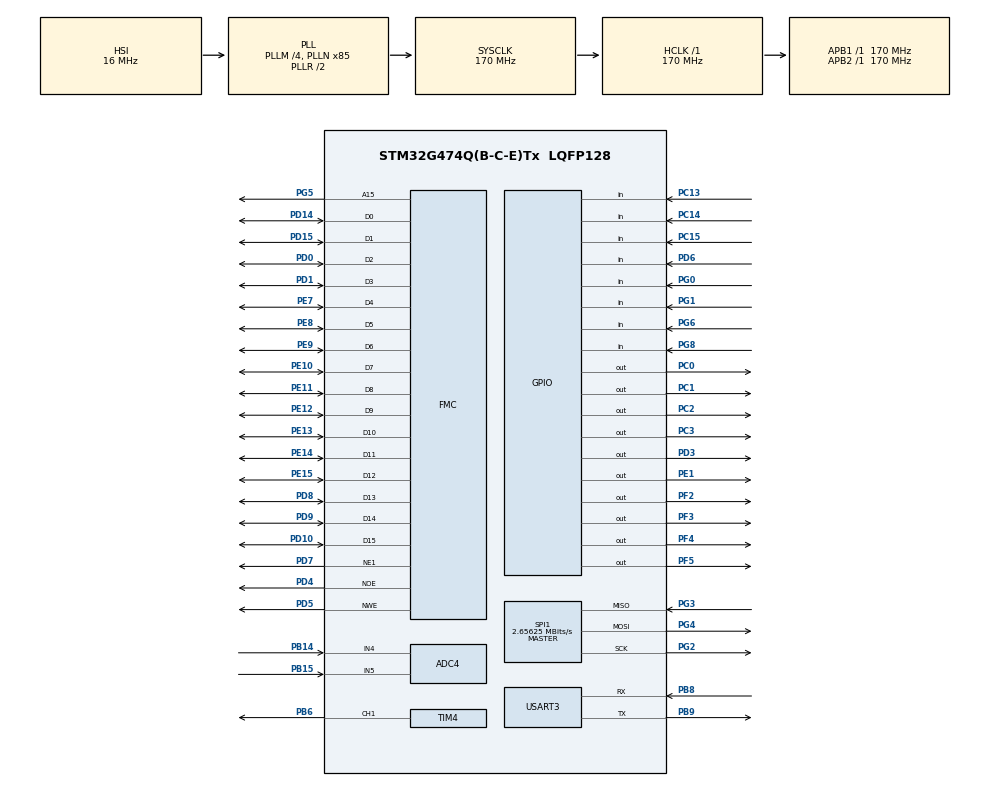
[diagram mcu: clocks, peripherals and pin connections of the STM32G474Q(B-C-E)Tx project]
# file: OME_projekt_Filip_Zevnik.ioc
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ADC4.Channel-0\#ChannelRegularConversion=ADC_CHANNEL_4
ADC4.Channel-1\#ChannelRegularConversion=ADC_CHANNEL_5
ADC4.DMAContinuousRequests=ENABLE
ADC4.ExternalTrigConv=ADC_EXTERNALTRIG_T1_TRGO
ADC4.NbrOfConversion=2
ADC4.NbrOfConversionFlag=1
ADC4.OffsetNumber-0\#ChannelRegularConversion=ADC_OFFSET_NONE
ADC4.OffsetNumber-1\#ChannelRegularConversion=ADC_OFFSET_NONE
ADC4.Rank-0\#ChannelRegularConversion=1
ADC4.Rank-1\#ChannelRegularConversion=2
ADC4.SamplingTime-0\#ChannelRegularConversion=ADC_SAMPLETIME_640CYCLES_5
ADC4.SamplingTime-1\#ChannelRegularConversion=ADC_SAMPLETIME_640CYCLES_5
Dma.ADC4.1.Direction=DMA_PERIPH_TO_MEMORY
Dma.ADC4.1.EventEnable=DISABLE
Dma.ADC4.1.Instance=DMA1_Channel1
Dma.ADC4.1.MemDataAlignment=DMA_MDATAALIGN_HALFWORD
Dma.ADC4.1.MemInc=DMA_MINC_ENABLE
Dma.ADC4.1.Mode=DMA_CIRCULAR
Dma.ADC4.1.PeriphDataAlignment=DMA_PDATAALIGN_HALFWORD
Dma.ADC4.1.PeriphInc=DMA_PINC_DISABLE
Dma.ADC4.1.Polarity=HAL_DMAMUX_REQ_GEN_RISING
Dma.ADC4.1.Priority=DMA_PRIORITY_LOW
Dma.ADC4.1.RequestNumber=1
Dma.ADC4.1.SignalID=NONE
Dma.ADC4.1.SyncEnable=DISABLE
Dma.ADC4.1.SyncPolarity=HAL_DMAMUX_SYNC_NO_EVENT
Dma.ADC4.1.SyncRequestNumber=1
Dma.ADC4.1.SyncSignalID=NONE
Dma.MEMTOMEM.0.Direction=DMA_MEMORY_TO_MEMORY
Dma.MEMTOMEM.0.EventEnable=DISABLE
Dma.MEMTOMEM.0.Instance=DMA1_Channel2
Dma.MEMTOMEM.0.MemDataAlignment=DMA_MDATAALIGN_HALFWORD
Dma.MEMTOMEM.0.MemInc=DMA_MINC_DISABLE
Dma.MEMTOMEM.0.Mode=DMA_NORMAL
Dma.MEMTOMEM.0.PeriphDataAlignment=DMA_PDATAALIGN_HALFWORD
Dma.MEMTOMEM.0.PeriphInc=DMA_PINC_ENABLE
Dma.MEMTOMEM.0.Polarity=HAL_DMAMUX_REQ_GEN_RISING
Dma.MEMTOMEM.0.Priority=DMA_PRIORITY_LOW
Dma.MEMTOMEM.0.RequestNumber=1
Dma.MEMTOMEM.0.SignalID=NONE
Dma.MEMTOMEM.0.SyncEnable=DISABLE
Dma.MEMTOMEM.0.SyncPolarity=HAL_DMAMUX_SYNC_NO_EVENT
Dma.MEMTOMEM.0.SyncRequestNumber=1
Dma.MEMTOMEM.0.SyncSignalID=NONE
Dma.Request0=MEMTOMEM
Dma.Request1=ADC4
FMC.AddressSetupTime1=1
FMC.BusTurnAroundDuration1=1
FMC.DataHoldTime1=1
FMC.DataSetupTime1=1
Mcu.Family=STM32G4
Mcu.Name=STM32G474Q(B-C-E)Tx
Mcu.Package=LQFP128
NVIC.DMA1_Channel1_IRQn=true\:0\:0\:false\:false\:true\:false\:true
NVIC.DMA1_Channel2_IRQn=true\:0\:0\:false\:false\:true\:true\:true
NVIC.PriorityGroup=NVIC_PRIORITYGROUP_4
NVIC.TIM6_DAC_IRQn=true\:15\:0\:true\:false\:true\:true\:true
NVIC.USART3_IRQn=true\:0\:0\:false\:false\:true\:true\:true
PB14.Mode=IN4-Single-Ended
PB14.Signal=ADC4_IN4
PB15.Mode=IN5-Single-Ended
PB15.Signal=ADC4_IN5
PB6.Signal=S_TIM4_CH1
PB8-BOOT0.Mode=Asynchronous
PB8-BOOT0.Signal=USART3_RX
PB9.Mode=Asynchronous
PB9.Signal=USART3_TX
PC0.Signal=GPIO_Output
PC1.Signal=GPIO_Output
PC13.GPIO_PuPd=GPIO_PULLUP
PC13.Signal=GPIO_Input
PC14-OSC32_IN.GPIO_PuPd=GPIO_PULLUP
PC14-OSC32_IN.Signal=GPIO_Input
PC15-OSC32_OUT.GPIO_PuPd=GPIO_PULLUP
PC15-OSC32_OUT.Signal=GPIO_Input
PC2.Signal=GPIO_Output
PC3.GPIO_ModeDefaultOutputPP=GPIO_MODE_OUTPUT_PP
PC3.GPIO_PuPd=GPIO_PULLUP
PC3.Signal=GPIO_Output
PD0.Signal=FMC_D2_DA2
PD1.Signal=FMC_D3_DA3
PD10.Signal=FMC_D15_DA15
PD14.Signal=FMC_D0_DA0
PD15.Signal=FMC_D1_DA1
PD3.Signal=GPIO_Output
PD4.Signal=FMC_NOE
PD5.Signal=FMC_NWE
PD6.Signal=GPIO_Input
PD7.Mode=NorPsramChipSelect1_1
PD7.Signal=FMC_NE1
PD8.Signal=FMC_D13_DA13
PD9.Signal=FMC_D14_DA14
PE1.Signal=GPIO_Output
PE10.Signal=FMC_D7_DA7
PE11.Signal=FMC_D8_DA8
PE12.Signal=FMC_D9_DA9
PE13.Signal=FMC_D10_DA10
PE14.Signal=FMC_D11_DA11
PE15.Signal=FMC_D12_DA12
PE7.Signal=FMC_D4_DA4
PE8.Signal=FMC_D5_DA5
PE9.Signal=FMC_D6_DA6
PF2.Signal=GPIO_Output
PF3.Signal=GPIO_Output
PF4.Signal=GPIO_Output
PF5.Signal=GPIO_Output
PG0.GPIO_Mode=GPIO_MODE_INPUT
PG0.GPIO_PuPd=GPIO_PULLUP
PG0.Signal=GPIO_Input
PG1.GPIO_Mode=GPIO_MODE_INPUT
PG1.GPIO_PuPd=GPIO_PULLUP
PG1.Signal=GPIO_Input
PG2.Mode=Full_Duplex_Master
PG2.Signal=SPI1_SCK
PG3.Mode=Full_Duplex_Master
PG3.Signal=SPI1_MISO
PG4.Mode=Full_Duplex_Master
PG4.Signal=SPI1_MOSI
PG5.Signal=FMC_A15
PG6.GPIO_Mode=GPIO_MODE_INPUT
PG6.GPIO_PuPd=GPIO_PULLUP
PG6.Signal=GPIO_Input
PG8.GPIO_Mode=GPIO_MODE_INPUT
PG8.GPIO_PuPd=GPIO_PULLUP
PG8.Signal=GPIO_Input
ProjectManager.HeapSize=0x200
ProjectManager.StackSize=0x400
ProjectManager.TargetToolchain=STM32CubeIDE
RCC.ADC12Freq_Value=170000000
RCC.ADC345Freq_Value=170000000
RCC.AHBFreq_Value=170000000
RCC.APB1Freq_Value=170000000
RCC.APB1TimFreq_Value=170000000
RCC.APB2Freq_Value=170000000
RCC.APB2TimFreq_Value=170000000
RCC.CortexFreq_Value=170000000
RCC.EXTERNAL_CLOCK_VALUE=12288000
RCC.HCLKFreq_Value=170000000
RCC.HSE_VALUE=8000000
RCC.HSI48_VALUE=48000000
RCC.HSI_VALUE=16000000
RCC.LSE_VALUE=32768
RCC.PLLM=RCC_PLLM_DIV4
RCC.PLLN=85
RCC.PLLQ=RCC_PLLQ_DIV6
RCC.SYSCLKFreq_VALUE=170000000
RCC.SYSCLKSource=RCC_SYSCLKSOURCE_PLLCLK
RCC.USBFreq_Value=56666666.666666664
RCC.VCOOutputFreq_Value=340000000
SH.FMC_A15.0=FMC_A15,A15_1
SH.FMC_D0_DA0.0=FMC_D0,16b-d1
SH.FMC_D10_DA10.0=FMC_D10,16b-d1
SH.FMC_D11_DA11.0=FMC_D11,16b-d1
SH.FMC_D12_DA12.0=FMC_D12,16b-d1
SH.FMC_D13_DA13.0=FMC_D13,16b-d1
SH.FMC_D14_DA14.0=FMC_D14,16b-d1
SH.FMC_D15_DA15.0=FMC_D15,16b-d1
SH.FMC_D1_DA1.0=FMC_D1,16b-d1
SH.FMC_D2_DA2.0=FMC_D2,16b-d1
SH.FMC_D3_DA3.0=FMC_D3,16b-d1
SH.FMC_D4_DA4.0=FMC_D4,16b-d1
SH.FMC_D5_DA5.0=FMC_D5,16b-d1
SH.FMC_D6_DA6.0=FMC_D6,16b-d1
SH.FMC_D7_DA7.0=FMC_D7,16b-d1
SH.FMC_D8_DA8.0=FMC_D8,16b-d1
SH.FMC_D9_DA9.0=FMC_D9,16b-d1
SH.FMC_NOE.0=FMC_NOE,Lcd1
SH.FMC_NWE.0=FMC_NWE,Lcd1
SH.S_TIM4_CH1.0=TIM4_CH1,PWM Generation1 CH1
SPI1.BaudRatePrescaler=SPI_BAUDRATEPRESCALER_64
SPI1.CalculateBaudRate=2.65625 MBits/s
SPI1.DataSize=SPI_DATASIZE_8BIT
SPI1.Direction=SPI_DIRECTION_2LINES
SPI1.Mode=SPI_MODE_MASTER
SPI1.NSSPMode=SPI_NSS_PULSE_DISABLE
SPI1.VirtualType=VM_MASTER
TIM1.PeriodNoDither=9999
TIM1.TIM_MasterOutputTrigger=TIM_TRGO_UPDATE
TIM4.Channel-PWM\ Generation1\ CH1=TIM_CHANNEL_1
TIM4.PeriodNoDither=99
TIM4.Prescaler=1440
TIM6.PeriodNoDither=49999
TIM6.Prescaler=144
USART3.OverrunDisableParam=ADVFEATURE_OVERRUN_DISABLE
USART3.VirtualMode-Asynchronous=VM_ASYNC
VP_CORDIC_VS_CORDIC.Mode=CORDIC_Activate
VP_SYS_VS_DBSignals.Mode=DisableDeadBatterySignals
VP_TIM1_VS_ClockSourceINT.Mode=Internal
VP_TIM4_VS_ClockSourceINT.Mode=Internal
VP_TIM6_VS_ClockSourceINT.Mode=Enable_Timer
board=custom

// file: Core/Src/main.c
/* USER CODE BEGIN Header */
/**
 ******************************************************************************
 * @file           : main.c
 * @brief          : Main program body
 ******************************************************************************
 * @attention
 *
 * Copyright (c) 2022 STMicroelectronics.
 * All rights reserved.
 *
 * This software is licensed under terms that can be found in the LICENSE file
 * in the root directory of this software component.
 * If no LICENSE file comes with this software, it is provided AS-IS.
 *
 ******************************************************************************
 */
/* USER CODE END Header */
#include "main.h"

/* USER CODE BEGIN Includes */
#include "led.h"
#include "kbd.h"
#include "SCI.h"
#include "timing_utils.h"
#include "periodic_services.h"
#include "lcd.h"
#include "math.h"
#include <stdio.h>
#include <stdlib.h>
#include "ugui.h"
#include "podatki.h"
#include "pomozne_funkcije.h"
#include "ray_funkcije.h"
#include "joystick.h"

/* USER CODE END Includes */

ADC_HandleTypeDef hadc4;
DMA_HandleTypeDef hdma_adc4;

CORDIC_HandleTypeDef hcordic;

SPI_HandleTypeDef hspi1;

TIM_HandleTypeDef htim1;

DMA_HandleTypeDef hdma_memtomem_dma1_channel2;
SRAM_HandleTypeDef hsram1;

void SystemClock_Config(void);
static void MX_GPIO_Init(void);
static void MX_USART3_UART_Init(void);
static void MX_TIM6_Init(void);
static void MX_TIM4_Init(void);
static void MX_FMC_Init(void);
static void MX_DMA_Init(void);
static void MX_SPI1_Init(void);
static void MX_CORDIC_Init(void);
static void MX_ADC4_Init(void);
static void MX_TIM1_Init(void);

int main(void)
{

	/* MCU Configuration--------------------------------------------------------*/

	/* Reset of all peripherals, Initializes the Flash interface and the Systick. */
	HAL_Init();

	/* Configure the system clock */
	SystemClock_Config();

	/* Initialize all configured peripherals */
	MX_GPIO_Init();
	MX_USART3_UART_Init();
	MX_TIM6_Init();
	MX_TIM4_Init();
	MX_FMC_Init();
	MX_DMA_Init();
	MX_SPI1_Init();
	MX_CORDIC_Init();
	MX_TIM1_Init();
	/* USER CODE BEGIN 2 */
	MX_ADC4_Init();
	LED_init();
	KBD_init();
	SCI_init();
	PSERV_init();
	PSERV_enable();
	JOY_init(&hadc4, &htim1);
	LCD_Init();
	LCD_uGUI_init();
	//LED_on(LED1);
	//DEFINIRAJ SPRITE
	sp[0].tip = 0; sp[0].map = 0; sp[0].x = 1.5 * Blocksize; sp[0].y = 5 * Blocksize; sp[0].sizeX = 128; sp[0].sizeY = 128; sp[0].life = 3;
	sp[0].damadgedTime = 0; sp[0].damadgedTimeMax = 300000;
	sp[1].tip = 0; sp[1].map = 0; sp[1].x = 2.5 * Blocksize; sp[1].y = 7.5 * Blocksize; sp[1].sizeX = 128; sp[1].sizeY = 128; sp[1].life = 3;
	sp[1].damadgedTime = 0; sp[1].damadgedTimeMax = 300000;

	UG_FillFrame(0, 0, 40, s_height, C_BLACK);
	UG_FillFrame(280, 0, 40, s_height+50, C_BLACK);
	for(int c = 0;c < 20;c++)
	{
		UG_PutChar('F', 10, c*15, C_RED, C_BLACK);
		UG_PutChar('E', 20, c*15, C_RED, C_BLACK);

		UG_PutChar('F', 280+10, c*15, C_RED, C_BLACK);
		UG_PutChar('E', 280+20, c*15, C_RED, C_BLACK);
	}

	//test_sprite();

	/* USER CODE END 2 */

	/* Infinite loop */
	/* USER CODE BEGIN WHILE */

	//ILI9341_SetDisplayWindow(0, 0, 240, 240);
	stopwatch_handle_t sw;
	TIMUT_stopwatch_set_time_mark(&sw);
	while (1)
	{
		//JOY_SCI_send_status();
		//printf("test");
		if(TIMUT_stopwatch_has_X_ms_passed(&sw, 50))
		{
			drawMap();
			drawGun();
			ILI9341_SetDisplayWindow(40, 0, 240, 240);
			if(ILI9341_SendData(pixels, 57600)) LED_on(LED0);
			else LED_off(LED0);
			TIMUT_stopwatch_set_time_mark(&sw);
		}

		/* USER CODE END WHILE */

	}
}

void SystemClock_Config(void)
{
	RCC_OscInitTypeDef RCC_OscInitStruct = {0};
	RCC_ClkInitTypeDef RCC_ClkInitStruct = {0};

	/** Configure the main internal regulator output voltage
	 */
	HAL_PWREx_ControlVoltageScaling(PWR_REGULATOR_VOLTAGE_SCALE1_BOOST);
	/** Initializes the RCC Oscillators according to the specified parameters
	 * in the RCC_OscInitTypeDef structure.
	 */
	RCC_OscInitStruct.OscillatorType = RCC_OSCILLATORTYPE_HSI;
	RCC_OscInitStruct.HSIState = RCC_HSI_ON;
	RCC_OscInitStruct.HSICalibrationValue = RCC_HSICALIBRATION_DEFAULT;
	RCC_OscInitStruct.PLL.PLLState = RCC_PLL_ON;
	RCC_OscInitStruct.PLL.PLLSource = RCC_PLLSOURCE_HSI;
	RCC_OscInitStruct.PLL.PLLM = RCC_PLLM_DIV4;
	RCC_OscInitStruct.PLL.PLLN = 85;
	RCC_OscInitStruct.PLL.PLLP = RCC_PLLP_DIV2;
	RCC_OscInitStruct.PLL.PLLQ = RCC_PLLQ_DIV6;
	RCC_OscInitStruct.PLL.PLLR = RCC_PLLR_DIV2;
	if (HAL_RCC_OscConfig(&RCC_OscInitStruct) != HAL_OK)
	{
		Error_Handler();
	}
	/** Initializes the CPU, AHB and APB buses clocks
	 */
	RCC_ClkInitStruct.ClockType = RCC_CLOCKTYPE_HCLK|RCC_CLOCKTYPE_SYSCLK
			|RCC_CLOCKTYPE_PCLK1|RCC_CLOCKTYPE_PCLK2;
	RCC_ClkInitStruct.SYSCLKSource = RCC_SYSCLKSOURCE_PLLCLK;
	RCC_ClkInitStruct.AHBCLKDivider = RCC_SYSCLK_DIV1;
	RCC_ClkInitStruct.APB1CLKDivider = RCC_HCLK_DIV1;
	RCC_ClkInitStruct.APB2CLKDivider = RCC_HCLK_DIV1;

	if (HAL_RCC_ClockConfig(&RCC_ClkInitStruct, FLASH_LATENCY_4) != HAL_OK)
	{
		Error_Handler();
	}
}

static void MX_ADC4_Init(void)
{

	ADC_ChannelConfTypeDef sConfig = {0};

	/** Common config
	 */
	hadc4.Instance = ADC4;
	hadc4.Init.ClockPrescaler = ADC_CLOCK_SYNC_PCLK_DIV4;
	hadc4.Init.Resolution = ADC_RESOLUTION_12B;
	hadc4.Init.DataAlign = ADC_DATAALIGN_RIGHT;
	hadc4.Init.GainCompensation = 0;
	hadc4.Init.ScanConvMode = ADC_SCAN_ENABLE;
	hadc4.Init.EOCSelection = ADC_EOC_SINGLE_CONV;
	hadc4.Init.LowPowerAutoWait = DISABLE;
	hadc4.Init.ContinuousConvMode = DISABLE;
	hadc4.Init.NbrOfConversion = 2;
	hadc4.Init.DiscontinuousConvMode = DISABLE;
	hadc4.Init.ExternalTrigConv = ADC_EXTERNALTRIG_T1_TRGO;
	hadc4.Init.ExternalTrigConvEdge = ADC_EXTERNALTRIGCONVEDGE_RISING;
	hadc4.Init.DMAContinuousRequests = ENABLE;
	hadc4.Init.Overrun = ADC_OVR_DATA_PRESERVED;
	hadc4.Init.OversamplingMode = DISABLE;
	if (HAL_ADC_Init(&hadc4) != HAL_OK)
	{
		Error_Handler();
	}
	/** Configure Regular Channel
	 */
	sConfig.Channel = ADC_CHANNEL_4;
	sConfig.Rank = ADC_REGULAR_RANK_1;
	sConfig.SamplingTime = ADC_SAMPLETIME_640CYCLES_5;
	sConfig.SingleDiff = ADC_SINGLE_ENDED;
	sConfig.OffsetNumber = ADC_OFFSET_NONE;
	sConfig.Offset = 0;
	if (HAL_ADC_ConfigChannel(&hadc4, &sConfig) != HAL_OK)
	{
		Error_Handler();
	}
	/** Configure Regular Channel
	 */
	sConfig.Channel = ADC_CHANNEL_5;
	sConfig.Rank = ADC_REGULAR_RANK_2;
	if (HAL_ADC_ConfigChannel(&hadc4, &sConfig) != HAL_OK)
	{
		Error_Handler();
	}

}

static void MX_CORDIC_Init(void)
{

	hcordic.Instance = CORDIC;
	if (HAL_CORDIC_Init(&hcordic) != HAL_OK)
	{
		Error_Handler();
	}

}

static void MX_SPI1_Init(void)
{

	/* SPI1 parameter configuration*/
	hspi1.Instance = SPI1;
	hspi1.Init.Mode = SPI_MODE_MASTER;
	hspi1.Init.Direction = SPI_DIRECTION_2LINES;
	hspi1.Init.DataSize = SPI_DATASIZE_8BIT;
	hspi1.Init.CLKPolarity = SPI_POLARITY_LOW;
	hspi1.Init.CLKPhase = SPI_PHASE_1EDGE;
	hspi1.Init.NSS = SPI_NSS_SOFT;
	hspi1.Init.BaudRatePrescaler = SPI_BAUDRATEPRESCALER_64;
	hspi1.Init.FirstBit = SPI_FIRSTBIT_MSB;
	hspi1.Init.TIMode = SPI_TIMODE_DISABLE;
	hspi1.Init.CRCCalculation = SPI_CRCCALCULATION_DISABLE;
	hspi1.Init.CRCPolynomial = 7;
	hspi1.Init.CRCLength = SPI_CRC_LENGTH_DATASIZE;
	hspi1.Init.NSSPMode = SPI_NSS_PULSE_DISABLE;
	if (HAL_SPI_Init(&hspi1) != HAL_OK)
	{
		Error_Handler();
	}

}

static void MX_TIM1_Init(void)
{

	TIM_ClockConfigTypeDef sClockSourceConfig = {0};
	TIM_MasterConfigTypeDef sMasterConfig = {0};

	htim1.Instance = TIM1;
	htim1.Init.Prescaler = 0;
	htim1.Init.CounterMode = TIM_COUNTERMODE_UP;
	htim1.Init.Period = 9999;
	htim1.Init.ClockDivision = TIM_CLOCKDIVISION_DIV1;
	htim1.Init.RepetitionCounter = 0;
	htim1.Init.AutoReloadPreload = TIM_AUTORELOAD_PRELOAD_DISABLE;
	if (HAL_TIM_Base_Init(&htim1) != HAL_OK)
	{
		Error_Handler();
	}
	sClockSourceConfig.ClockSource = TIM_CLOCKSOURCE_INTERNAL;
	if (HAL_TIM_ConfigClockSource(&htim1, &sClockSourceConfig) != HAL_OK)
	{
		Error_Handler();
	}
	sMasterConfig.MasterOutputTrigger = TIM_TRGO_UPDATE;
	sMasterConfig.MasterOutputTrigger2 = TIM_TRGO2_RESET;
	sMasterConfig.MasterSlaveMode = TIM_MASTERSLAVEMODE_DISABLE;
	if (HAL_TIMEx_MasterConfigSynchronization(&htim1, &sMasterConfig) != HAL_OK)
	{
		Error_Handler();
	}

}

static void MX_TIM4_Init(void)
{

	LL_TIM_InitTypeDef TIM_InitStruct = {0};
	LL_TIM_OC_InitTypeDef TIM_OC_InitStruct = {0};

	LL_GPIO_InitTypeDef GPIO_InitStruct = {0};

	/* Peripheral clock enable */
	LL_APB1_GRP1_EnableClock(LL_APB1_GRP1_PERIPH_TIM4);

	TIM_InitStruct.Prescaler = 1440;
	TIM_InitStruct.CounterMode = LL_TIM_COUNTERMODE_UP;
	TIM_InitStruct.Autoreload = 99;
	TIM_InitStruct.ClockDivision = LL_TIM_CLOCKDIVISION_DIV1;
	LL_TIM_Init(TIM4, &TIM_InitStruct);
	LL_TIM_DisableARRPreload(TIM4);
	LL_TIM_SetClockSource(TIM4, LL_TIM_CLOCKSOURCE_INTERNAL);
	LL_TIM_OC_EnablePreload(TIM4, LL_TIM_CHANNEL_CH1);
	TIM_OC_InitStruct.OCMode = LL_TIM_OCMODE_PWM1;
	TIM_OC_InitStruct.OCState = LL_TIM_OCSTATE_DISABLE;
	TIM_OC_InitStruct.OCNState = LL_TIM_OCSTATE_DISABLE;
	TIM_OC_InitStruct.CompareValue = 0;
	TIM_OC_InitStruct.OCPolarity = LL_TIM_OCPOLARITY_HIGH;
	LL_TIM_OC_Init(TIM4, LL_TIM_CHANNEL_CH1, &TIM_OC_InitStruct);
	LL_TIM_OC_DisableFast(TIM4, LL_TIM_CHANNEL_CH1);
	LL_TIM_SetTriggerOutput(TIM4, LL_TIM_TRGO_RESET);
	LL_TIM_DisableMasterSlaveMode(TIM4);
	LL_AHB2_GRP1_EnableClock(LL_AHB2_GRP1_PERIPH_GPIOB);
	/**TIM4 GPIO Configuration
  PB6   ------> TIM4_CH1
	 */
	GPIO_InitStruct.Pin = LL_GPIO_PIN_6;
	GPIO_InitStruct.Mode = LL_GPIO_MODE_ALTERNATE;
	GPIO_InitStruct.Speed = LL_GPIO_SPEED_FREQ_LOW;
	GPIO_InitStruct.OutputType = LL_GPIO_OUTPUT_PUSHPULL;
	GPIO_InitStruct.Pull = LL_GPIO_PULL_NO;
	GPIO_InitStruct.Alternate = LL_GPIO_AF_2;
	LL_GPIO_Init(GPIOB, &GPIO_InitStruct);

}

static void MX_TIM6_Init(void)
{

	LL_TIM_InitTypeDef TIM_InitStruct = {0};

	/* Peripheral clock enable */
	LL_APB1_GRP1_EnableClock(LL_APB1_GRP1_PERIPH_TIM6);

	/* TIM6 interrupt Init */
	NVIC_SetPriority(TIM6_DAC_IRQn, NVIC_EncodePriority(NVIC_GetPriorityGrouping(),15, 0));
	NVIC_EnableIRQ(TIM6_DAC_IRQn);

	TIM_InitStruct.Prescaler = 144;
	TIM_InitStruct.CounterMode = LL_TIM_COUNTERMODE_UP;
	TIM_InitStruct.Autoreload = 49999;
	LL_TIM_Init(TIM6, &TIM_InitStruct);
	LL_TIM_DisableARRPreload(TIM6);
	LL_TIM_SetTriggerOutput(TIM6, LL_TIM_TRGO_RESET);
	LL_TIM_DisableMasterSlaveMode(TIM6);

}

static void MX_USART3_UART_Init(void)
{

	LL_USART_InitTypeDef USART_InitStruct = {0};

	LL_GPIO_InitTypeDef GPIO_InitStruct = {0};
	RCC_PeriphCLKInitTypeDef PeriphClkInit = {0};

	/** Initializes the peripherals clocks
	 */
	PeriphClkInit.PeriphClockSelection = RCC_PERIPHCLK_USART3;
	PeriphClkInit.Usart3ClockSelection = RCC_USART3CLKSOURCE_PCLK1;
	if (HAL_RCCEx_PeriphCLKConfig(&PeriphClkInit) != HAL_OK)
	{
		Error_Handler();
	}

	/* Peripheral clock enable */
	LL_APB1_GRP1_EnableClock(LL_APB1_GRP1_PERIPH_USART3);

	LL_AHB2_GRP1_EnableClock(LL_AHB2_GRP1_PERIPH_GPIOB);
	/**USART3 GPIO Configuration
  PB8-BOOT0   ------> USART3_RX
  PB9   ------> USART3_TX
	 */
	GPIO_InitStruct.Pin = LL_GPIO_PIN_8;
	GPIO_InitStruct.Mode = LL_GPIO_MODE_ALTERNATE;
	GPIO_InitStruct.Speed = LL_GPIO_SPEED_FREQ_LOW;
	GPIO_InitStruct.OutputType = LL_GPIO_OUTPUT_PUSHPULL;
	GPIO_InitStruct.Pull = LL_GPIO_PULL_NO;
	GPIO_InitStruct.Alternate = LL_GPIO_AF_7;
	LL_GPIO_Init(GPIOB, &GPIO_InitStruct);

	GPIO_InitStruct.Pin = LL_GPIO_PIN_9;
	GPIO_InitStruct.Mode = LL_GPIO_MODE_ALTERNATE;
	GPIO_InitStruct.Speed = LL_GPIO_SPEED_FREQ_LOW;
	GPIO_InitStruct.OutputType = LL_GPIO_OUTPUT_PUSHPULL;
	GPIO_InitStruct.Pull = LL_GPIO_PULL_NO;
	GPIO_InitStruct.Alternate = LL_GPIO_AF_7;
	LL_GPIO_Init(GPIOB, &GPIO_InitStruct);

	/* USART3 interrupt Init */
	NVIC_SetPriority(USART3_IRQn, NVIC_EncodePriority(NVIC_GetPriorityGrouping(),0, 0));
	NVIC_EnableIRQ(USART3_IRQn);

	USART_InitStruct.PrescalerValue = LL_USART_PRESCALER_DIV1;
	USART_InitStruct.BaudRate = 115200;
	USART_InitStruct.DataWidth = LL_USART_DATAWIDTH_8B;
	USART_InitStruct.StopBits = LL_USART_STOPBITS_1;
	USART_InitStruct.Parity = LL_USART_PARITY_NONE;
	USART_InitStruct.TransferDirection = LL_USART_DIRECTION_TX_RX;
	USART_InitStruct.HardwareFlowControl = LL_USART_HWCONTROL_NONE;
	USART_InitStruct.OverSampling = LL_USART_OVERSAMPLING_16;
	LL_USART_Init(USART3, &USART_InitStruct);
	LL_USART_SetTXFIFOThreshold(USART3, LL_USART_FIFOTHRESHOLD_1_8);
	LL_USART_SetRXFIFOThreshold(USART3, LL_USART_FIFOTHRESHOLD_1_8);
	LL_USART_DisableFIFO(USART3);
	LL_USART_DisableOverrunDetect(USART3);
	LL_USART_ConfigAsyncMode(USART3);

	LL_USART_Enable(USART3);

	/* Polling USART3 initialisation */
	while((!(LL_USART_IsActiveFlag_TEACK(USART3))) || (!(LL_USART_IsActiveFlag_REACK(USART3))))
	{
	}

}

static void MX_DMA_Init(void)
{

	/* DMA controller clock enable */
	__HAL_RCC_DMAMUX1_CLK_ENABLE();
	__HAL_RCC_DMA1_CLK_ENABLE();

	/* Configure DMA request hdma_memtomem_dma1_channel2 on DMA1_Channel2 */
	hdma_memtomem_dma1_channel2.Instance = DMA1_Channel2;
	hdma_memtomem_dma1_channel2.Init.Request = DMA_REQUEST_MEM2MEM;
	hdma_memtomem_dma1_channel2.Init.Direction = DMA_MEMORY_TO_MEMORY;
	hdma_memtomem_dma1_channel2.Init.PeriphInc = DMA_PINC_ENABLE;
	hdma_memtomem_dma1_channel2.Init.MemInc = DMA_MINC_DISABLE;
	hdma_memtomem_dma1_channel2.Init.PeriphDataAlignment = DMA_PDATAALIGN_HALFWORD;
	hdma_memtomem_dma1_channel2.Init.MemDataAlignment = DMA_MDATAALIGN_HALFWORD;
	hdma_memtomem_dma1_channel2.Init.Mode = DMA_NORMAL;
	hdma_memtomem_dma1_channel2.Init.Priority = DMA_PRIORITY_LOW;
	if (HAL_DMA_Init(&hdma_memtomem_dma1_channel2) != HAL_OK)
	{
		Error_Handler( );
	}

	/* DMA interrupt init */
	/* DMA1_Channel1_IRQn interrupt configuration */
	HAL_NVIC_SetPriority(DMA1_Channel1_IRQn, 0, 0);
	HAL_NVIC_EnableIRQ(DMA1_Channel1_IRQn);
	/* DMA1_Channel2_IRQn interrupt configuration */
	HAL_NVIC_SetPriority(DMA1_Channel2_IRQn, 0, 0);
	HAL_NVIC_EnableIRQ(DMA1_Channel2_IRQn);

}

/* FMC initialization function */
static void MX_FMC_Init(void)
{

	FMC_NORSRAM_TimingTypeDef Timing = {0};

	/** Perform the SRAM1 memory initialization sequence
	 */
	hsram1.Instance = FMC_NORSRAM_DEVICE;
	hsram1.Extended = FMC_NORSRAM_EXTENDED_DEVICE;
	/* hsram1.Init */
	hsram1.Init.NSBank = FMC_NORSRAM_BANK1;
	hsram1.Init.DataAddressMux = FMC_DATA_ADDRESS_MUX_DISABLE;
	hsram1.Init.MemoryType = FMC_MEMORY_TYPE_SRAM;
	hsram1.Init.MemoryDataWidth = FMC_NORSRAM_MEM_BUS_WIDTH_16;
	hsram1.Init.BurstAccessMode = FMC_BURST_ACCESS_MODE_DISABLE;
	hsram1.Init.WaitSignalPolarity = FMC_WAIT_SIGNAL_POLARITY_LOW;
	hsram1.Init.WaitSignalActive = FMC_WAIT_TIMING_BEFORE_WS;
	hsram1.Init.WriteOperation = FMC_WRITE_OPERATION_ENABLE;
	hsram1.Init.WaitSignal = FMC_WAIT_SIGNAL_DISABLE;
	hsram1.Init.ExtendedMode = FMC_EXTENDED_MODE_DISABLE;
	hsram1.Init.AsynchronousWait = FMC_ASYNCHRONOUS_WAIT_DISABLE;
	hsram1.Init.WriteBurst = FMC_WRITE_BURST_DISABLE;
	hsram1.Init.ContinuousClock = FMC_CONTINUOUS_CLOCK_SYNC_ONLY;
	hsram1.Init.WriteFifo = FMC_WRITE_FIFO_ENABLE;
	hsram1.Init.NBLSetupTime = 0;
	hsram1.Init.PageSize = FMC_PAGE_SIZE_NONE;
	hsram1.Init.MaxChipSelectPulse = DISABLE;
	/* Timing */
	Timing.AddressSetupTime = 1;
	Timing.AddressHoldTime = 15;
	Timing.DataSetupTime = 1;
	Timing.DataHoldTime = 1;
	Timing.BusTurnAroundDuration = 1;
	Timing.CLKDivision = 16;
	Timing.DataLatency = 17;
	Timing.AccessMode = FMC_ACCESS_MODE_A;
	/* ExtTiming */

	if (HAL_SRAM_Init(&hsram1, &Timing, NULL) != HAL_OK)
	{
		Error_Handler( );
	}

}

static void MX_GPIO_Init(void)
{
	LL_GPIO_InitTypeDef GPIO_InitStruct = {0};

	/* GPIO Ports Clock Enable */
	LL_AHB2_GRP1_EnableClock(LL_AHB2_GRP1_PERIPH_GPIOC);
	LL_AHB2_GRP1_EnableClock(LL_AHB2_GRP1_PERIPH_GPIOF);
	LL_AHB2_GRP1_EnableClock(LL_AHB2_GRP1_PERIPH_GPIOE);
	LL_AHB2_GRP1_EnableClock(LL_AHB2_GRP1_PERIPH_GPIOB);
	LL_AHB2_GRP1_EnableClock(LL_AHB2_GRP1_PERIPH_GPIOD);
	LL_AHB2_GRP1_EnableClock(LL_AHB2_GRP1_PERIPH_GPIOG);

	/**/
	LL_GPIO_ResetOutputPin(GPIOF, LL_GPIO_PIN_3);

	/**/
	LL_GPIO_ResetOutputPin(GPIOF, LL_GPIO_PIN_4);

	/**/
	LL_GPIO_ResetOutputPin(GPIOF, LL_GPIO_PIN_5);

	/**/
	LL_GPIO_ResetOutputPin(GPIOC, LL_GPIO_PIN_0);

	/**/
	LL_GPIO_ResetOutputPin(GPIOC, LL_GPIO_PIN_1);

	/**/
	LL_GPIO_ResetOutputPin(GPIOC, LL_GPIO_PIN_2);

	/**/
	LL_GPIO_ResetOutputPin(GPIOC, LL_GPIO_PIN_3);

	/**/
	LL_GPIO_ResetOutputPin(GPIOF, LL_GPIO_PIN_2);

	/**/
	LL_GPIO_ResetOutputPin(GPIOD, LL_GPIO_PIN_3);

	/**/
	LL_GPIO_ResetOutputPin(GPIOE, LL_GPIO_PIN_1);

	/**/
	GPIO_InitStruct.Pin = LL_GPIO_PIN_13;
	GPIO_InitStruct.Mode = LL_GPIO_MODE_INPUT;
	GPIO_InitStruct.Pull = LL_GPIO_PULL_UP;
	LL_GPIO_Init(GPIOC, &GPIO_InitStruct);

	/**/
	GPIO_InitStruct.Pin = LL_GPIO_PIN_14;
	GPIO_InitStruct.Mode = LL_GPIO_MODE_INPUT;
	GPIO_InitStruct.Pull = LL_GPIO_PULL_UP;
	LL_GPIO_Init(GPIOC, &GPIO_InitStruct);

	/**/
	GPIO_InitStruct.Pin = LL_GPIO_PIN_15;
	GPIO_InitStruct.Mode = LL_GPIO_MODE_INPUT;
	GPIO_InitStruct.Pull = LL_GPIO_PULL_UP;
	LL_GPIO_Init(GPIOC, &GPIO_InitStruct);

	/**/
	GPIO_InitStruct.Pin = LL_GPIO_PIN_3;
	GPIO_InitStruct.Mode = LL_GPIO_MODE_OUTPUT;
	GPIO_InitStruct.Speed = LL_GPIO_SPEED_FREQ_LOW;
	GPIO_InitStruct.OutputType = LL_GPIO_OUTPUT_PUSHPULL;
	GPIO_InitStruct.Pull = LL_GPIO_PULL_NO;
	LL_GPIO_Init(GPIOF, &GPIO_InitStruct);

	/**/
	GPIO_InitStruct.Pin = LL_GPIO_PIN_4;
	GPIO_InitStruct.Mode = LL_GPIO_MODE_OUTPUT;
	GPIO_InitStruct.Speed = LL_GPIO_SPEED_FREQ_LOW;
	GPIO_InitStruct.OutputType = LL_GPIO_OUTPUT_PUSHPULL;
	GPIO_InitStruct.Pull = LL_GPIO_PULL_NO;
	LL_GPIO_Init(GPIOF, &GPIO_InitStruct);

	/**/
	GPIO_InitStruct.Pin = LL_GPIO_PIN_5;
	GPIO_InitStruct.Mode = LL_GPIO_MODE_OUTPUT;
	GPIO_InitStruct.Speed = LL_GPIO_SPEED_FREQ_LOW;
	GPIO_InitStruct.OutputType = LL_GPIO_OUTPUT_PUSHPULL;
	GPIO_InitStruct.Pull = LL_GPIO_PULL_NO;
	LL_GPIO_Init(GPIOF, &GPIO_InitStruct);

	/**/
	GPIO_InitStruct.Pin = LL_GPIO_PIN_0;
	GPIO_InitStruct.Mode = LL_GPIO_MODE_OUTPUT;
	GPIO_InitStruct.Speed = LL_GPIO_SPEED_FREQ_LOW;
	GPIO_InitStruct.OutputType = LL_GPIO_OUTPUT_PUSHPULL;
	GPIO_InitStruct.Pull = LL_GPIO_PULL_NO;
	LL_GPIO_Init(GPIOC, &GPIO_InitStruct);

	/**/
	GPIO_InitStruct.Pin = LL_GPIO_PIN_1;
	GPIO_InitStruct.Mode = LL_GPIO_MODE_OUTPUT;
	GPIO_InitStruct.Speed = LL_GPIO_SPEED_FREQ_LOW;
	GPIO_InitStruct.OutputType = LL_GPIO_OUTPUT_PUSHPULL;
	GPIO_InitStruct.Pull = LL_GPIO_PULL_NO;
	LL_GPIO_Init(GPIOC, &GPIO_InitStruct);

	/**/
	GPIO_InitStruct.Pin = LL_GPIO_PIN_2;
	GPIO_InitStruct.Mode = LL_GPIO_MODE_OUTPUT;
	GPIO_InitStruct.Speed = LL_GPIO_SPEED_FREQ_LOW;
	GPIO_InitStruct.OutputType = LL_GPIO_OUTPUT_PUSHPULL;
	GPIO_InitStruct.Pull = LL_GPIO_PULL_NO;
	LL_GPIO_Init(GPIOC, &GPIO_InitStruct);

	/**/
	GPIO_InitStruct.Pin = LL_GPIO_PIN_3;
	GPIO_InitStruct.Mode = LL_GPIO_MODE_OUTPUT;
	GPIO_InitStruct.Speed = LL_GPIO_SPEED_FREQ_LOW;
	GPIO_InitStruct.OutputType = LL_GPIO_OUTPUT_PUSHPULL;
	GPIO_InitStruct.Pull = LL_GPIO_PULL_UP;
	LL_GPIO_Init(GPIOC, &GPIO_InitStruct);

	/**/
	GPIO_InitStruct.Pin = LL_GPIO_PIN_2;
	GPIO_InitStruct.Mode = LL_GPIO_MODE_OUTPUT;
	GPIO_InitStruct.Speed = LL_GPIO_SPEED_FREQ_LOW;
	GPIO_InitStruct.OutputType = LL_GPIO_OUTPUT_PUSHPULL;
	GPIO_InitStruct.Pull = LL_GPIO_PULL_NO;
	LL_GPIO_Init(GPIOF, &GPIO_InitStruct);

	/**/
	GPIO_InitStruct.Pin = LL_GPIO_PIN_0;
	GPIO_InitStruct.Mode = LL_GPIO_MODE_INPUT;
	GPIO_InitStruct.Pull = LL_GPIO_PULL_UP;
	LL_GPIO_Init(GPIOG, &GPIO_InitStruct);

	/**/
	GPIO_InitStruct.Pin = LL_GPIO_PIN_1;
	GPIO_InitStruct.Mode = LL_GPIO_MODE_INPUT;
	GPIO_InitStruct.Pull = LL_GPIO_PULL_UP;
	LL_GPIO_Init(GPIOG, &GPIO_InitStruct);

	/**/
	GPIO_InitStruct.Pin = LL_GPIO_PIN_6;
	GPIO_InitStruct.Mode = LL_GPIO_MODE_INPUT;
	GPIO_InitStruct.Pull = LL_GPIO_PULL_UP;
	LL_GPIO_Init(GPIOG, &GPIO_InitStruct);

	/**/
	GPIO_InitStruct.Pin = LL_GPIO_PIN_8;
	GPIO_InitStruct.Mode = LL_GPIO_MODE_INPUT;
	GPIO_InitStruct.Pull = LL_GPIO_PULL_UP;
	LL_GPIO_Init(GPIOG, &GPIO_InitStruct);

	/**/
	GPIO_InitStruct.Pin = LL_GPIO_PIN_3;
	GPIO_InitStruct.Mode = LL_GPIO_MODE_OUTPUT;
	GPIO_InitStruct.Speed = LL_GPIO_SPEED_FREQ_LOW;
	GPIO_InitStruct.OutputType = LL_GPIO_OUTPUT_PUSHPULL;
	GPIO_InitStruct.Pull = LL_GPIO_PULL_NO;
	LL_GPIO_Init(GPIOD, &GPIO_InitStruct);

	/**/
	GPIO_InitStruct.Pin = LL_GPIO_PIN_6;
	GPIO_InitStruct.Mode = LL_GPIO_MODE_INPUT;
	GPIO_InitStruct.Pull = LL_GPIO_PULL_NO;
	LL_GPIO_Init(GPIOD, &GPIO_InitStruct);

	/**/
	GPIO_InitStruct.Pin = LL_GPIO_PIN_1;
	GPIO_InitStruct.Mode = LL_GPIO_MODE_OUTPUT;
	GPIO_InitStruct.Speed = LL_GPIO_SPEED_FREQ_LOW;
	GPIO_InitStruct.OutputType = LL_GPIO_OUTPUT_PUSHPULL;
	GPIO_InitStruct.Pull = LL_GPIO_PULL_NO;
	LL_GPIO_Init(GPIOE, &GPIO_InitStruct);

}

void Error_Handler(void)
{
	__disable_irq();
	while (1)
	{
	}
}
